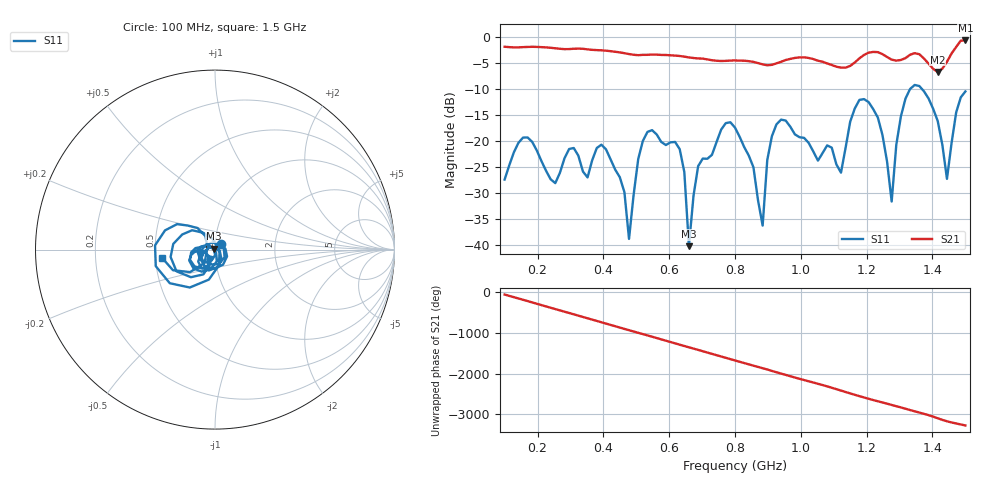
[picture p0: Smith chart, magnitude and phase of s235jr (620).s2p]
! NanoVNA-App
! Date: 2025-09-25 15:09:00
! Start: 100MHz Stop: 1,5GHz Points: 101
! S-Parameter data: F S11 S21 S12 S22
# Hz S RI R 50
!  Frequency  S11_Real  S11_Imag  S21_Real  S21_Imag  S12_Real  S12_Imag  S22_Real  S22_Imag
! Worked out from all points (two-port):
!   101 points, 100 MHz to 1.5 GHz, reference 50 ohm
!   highest |S21| = -0.76 dB at 1.5 GHz (marker M1); lowest = -6.8 dB at 1.416 GHz (marker M2)
!   |S21| within 3 dB of the highest: start of sweep to 634 MHz; 1.187 GHz to 1.257 GHz (70.09 MHz wide, 5.73 % of centre)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
!   lowest |S11| = -40.3 dB at 660 MHz (marker M3), VSWR 1.02, Z = 49.2 + j0.558 ohm
!   |S11| at or under -10 dB: start of sweep to 1.333 GHz; 1.367 GHz to end of sweep
!   S12 and S22 are empty: the file has one direction only
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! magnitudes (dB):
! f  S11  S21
! 100 MHz  -27.5  -2.0
! 156 MHz  -19.4  -2.0
! 338 MHz  -25.9  -2.4
! 408 MHz  -21.7  -2.7
! 478 MHz  -38.9  -3.4
! 520 MHz  -20.1  -3.5
! 576 MHz  -20.2  -3.5
! 632 MHz  -21.6  -3.7
! 660 MHz  -40.3  -4.0
! 688 MHz  -24.9  -4.2
! 800 MHz  -17.5  -4.6
! 884 MHz  -36.3  -5.4
! 926 MHz  -16.9  -5.1
! 1.038 GHz  -22.1  -4.3
! 1.122 GHz  -26.1  -6.0
! 1.192 GHz  -12.0  -3.5
! 1.234 GHz  -15.6  -3.0
! 1.276 GHz  -31.7  -4.4
! 1.332 GHz  -10.1  -3.5
! 1.416 GHz  -16.2  -6.8
! 1.444 GHz  -27.3  -4.8
! 1.5 GHz  -10.5  -0.8
